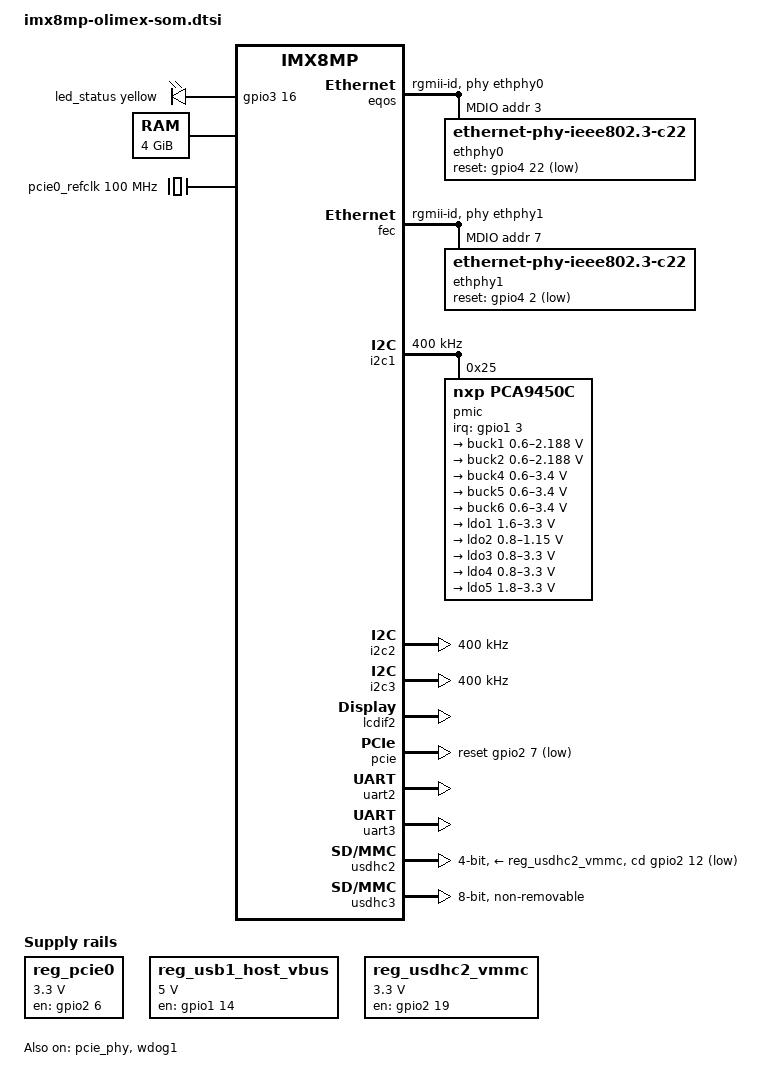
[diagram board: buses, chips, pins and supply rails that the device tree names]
// SPDX-License-Identifier: (GPL-2.0+ OR MIT)
/*
 * Copyright 2019 NXP
 * Copyright 2026 Zoltan HERPAI <wigyori@uid0.hu>
 */

/dts-v1/;

#include <dt-bindings/usb/pd.h>
#include <dt-bindings/phy/phy-imx8-pcie.h>
#include <dt-bindings/leds/common.h>
#include "imx8mp.dtsi"

/ {
	compatible = "olimex,imx8mp-som", "fsl,imx8mp";

	chosen {
		stdout-path = &uart2;
	};

	gpio-leds {
		compatible = "gpio-leds";
		pinctrl-names = "default";
		pinctrl-0 = <&pinctrl_gpio_led>;

		led_status: status {
			color = <LED_COLOR_ID_YELLOW>;
			function = LED_FUNCTION_STATUS;
			gpios = <&gpio3 16 GPIO_ACTIVE_HIGH>;
			default-state = "on";
		};
	};

	memory@40000000 {
		device_type = "memory";
		reg = <0x0 0x40000000 0 0xc0000000>,
		      <0x1 0x00000000 0 0x40000000>;
	};

	pcie0_refclk: clock-pcie0 {
		compatible = "fixed-clock";
		#clock-cells = <0>;
		clock-frequency = <100000000>;
	};

	reg_pcie0: regulator-pcie {
		compatible = "regulator-fixed";
		pinctrl-names = "default";
		pinctrl-0 = <&pinctrl_pcie0_reg>;
		regulator-name = "MPCIE_3V3";
		regulator-min-microvolt = <3300000>;
		regulator-max-microvolt = <3300000>;
		gpio = <&gpio2 6 GPIO_ACTIVE_HIGH>;
		enable-active-high;
	};

	reg_usb1_host_vbus: regulator-usb1-vbus {
		compatible = "regulator-fixed";
		regulator-name = "usb1_host_vbus";
		pinctrl-names = "default";
		pinctrl-0 = <&pinctrl_usb1_vbus>;
		regulator-min-microvolt = <5000000>;
		regulator-max-microvolt = <5000000>;
		gpio = <&gpio1 14 GPIO_ACTIVE_HIGH>;
		enable-active-high;
	};

	reg_usdhc2_vmmc: regulator-usdhc2 {
		compatible = "regulator-fixed";
		pinctrl-names = "default";
		pinctrl-0 = <&pinctrl_reg_usdhc2_vmmc>;
		regulator-name = "VSD_3V3";
		regulator-min-microvolt = <3300000>;
		regulator-max-microvolt = <3300000>;
		gpio = <&gpio2 19 GPIO_ACTIVE_HIGH>;
		enable-active-high;
	};
};

&A53_0 {
	cpu-supply = <&buck2>;
};

&A53_1 {
	cpu-supply = <&buck2>;
};

&A53_2 {
	cpu-supply = <&buck2>;
};

&A53_3 {
	cpu-supply = <&buck2>;
};

&eqos {
	phy-handle = <&ethphy0>;
	phy-mode = "rgmii-id";
	pinctrl-names = "default";
	pinctrl-0 = <&pinctrl_eqos>;

	status = "okay";

	mdio {
		compatible = "snps,dwmac-mdio";
		#address-cells = <1>;
		#size-cells = <0>;

		ethphy0: ethernet-phy@3 {
			compatible = "ethernet-phy-ieee802.3-c22";
			eee-broken-100tx;
			eee-broken-1000t;
			reset-gpios = <&gpio4 22 GPIO_ACTIVE_LOW>;
			reset-assert-us = <150000>;
			reset-deassert-us = <10000>;

			reg = <3>;
		};
	};
};

&fec {
	fsl,magic-packet;
	phy-handle = <&ethphy1>;
	phy-mode = "rgmii-id";
	pinctrl-names = "default";
	pinctrl-0 = <&pinctrl_fec>;

	status = "okay";

	mdio {
		#address-cells = <1>;
		#size-cells = <0>;

		ethphy1: ethernet-phy@7 {
			compatible = "ethernet-phy-ieee802.3-c22";
			reset-gpios = <&gpio4 2 GPIO_ACTIVE_LOW>;
			reset-assert-us = <150000>;
			reset-deassert-us = <10000>;

			reg = <7>;
		};
	};
};

&i2c1 {
	clock-frequency = <400000>;
	pinctrl-names = "default";
	pinctrl-0 = <&pinctrl_i2c1>;

	status = "okay";

	pmic: pmic@25 {
		reg = <0x25>;
		compatible = "nxp,pca9450c";
		/* PMIC PCA9450 PMIC_nINT GPIO1_IO3 */
		pinctrl-0 = <&pinctrl_pmic>;
		interrupt-parent = <&gpio1>;
		interrupts = <3 GPIO_ACTIVE_LOW>;

		regulators {
			buck1: BUCK1 {
				regulator-name = "BUCK1";
				regulator-min-microvolt = <600000>;
				regulator-max-microvolt = <2187500>;
				regulator-boot-on;
				regulator-always-on;
				regulator-ramp-delay = <3125>;
			};

			buck2: BUCK2 {
				regulator-name = "BUCK2";
				regulator-min-microvolt = <600000>;
				regulator-max-microvolt = <2187500>;
				regulator-boot-on;
				regulator-always-on;
				regulator-ramp-delay = <3125>;
				nxp,dvs-run-voltage = <950000>;
				nxp,dvs-standby-voltage = <850000>;
			};

			buck4: BUCK4 {
				regulator-name = "BUCK4";
				regulator-min-microvolt = <600000>;
				regulator-max-microvolt = <3400000>;
				regulator-boot-on;
				regulator-always-on;
			};

			buck5: BUCK5 {
				regulator-name = "BUCK5";
				regulator-min-microvolt = <600000>;
				regulator-max-microvolt = <3400000>;
				regulator-boot-on;
				regulator-always-on;
			};

			buck6: BUCK6 {
				regulator-name = "BUCK6";
				regulator-min-microvolt = <600000>;
				regulator-max-microvolt = <3400000>;
				regulator-boot-on;
				regulator-always-on;
			};

			ldo1: LDO1 {
				regulator-name = "LDO1";
				regulator-min-microvolt = <1600000>;
				regulator-max-microvolt = <3300000>;
				regulator-boot-on;
				regulator-always-on;
			};

			ldo2: LDO2 {
				regulator-name = "LDO2";
				regulator-min-microvolt = <800000>;
				regulator-max-microvolt = <1150000>;
				regulator-boot-on;
				regulator-always-on;
			};

			ldo3: LDO3 {
				regulator-name = "LDO3";
				regulator-min-microvolt = <800000>;
				regulator-max-microvolt = <3300000>;
				regulator-boot-on;
				regulator-always-on;
			};

			ldo4: LDO4 {
				regulator-name = "LDO4";
				regulator-min-microvolt = <800000>;
				regulator-max-microvolt = <3300000>;
				regulator-boot-on;
				regulator-always-on;
			};

			ldo5: LDO5 {
				regulator-name = "LDO5";
				regulator-min-microvolt = <1800000>;
				regulator-max-microvolt = <3300000>;
				regulator-boot-on;
				regulator-always-on;
			};
		};
	};
};

&i2c2 {
	clock-frequency = <400000>;
	pinctrl-names = "default";
	pinctrl-0 = <&pinctrl_i2c2>;

	status = "okay";
};

&i2c3 {
	clock-frequency = <400000>;
	pinctrl-names = "default";
	pinctrl-0 = <&pinctrl_i2c3>;

	status = "okay";
};

&lcdif2 {
	status = "okay";
};

&pcie {
	pinctrl-names = "default";
	pinctrl-0 = <&pinctrl_pcie0>;
	reset-gpio = <&gpio2 7 GPIO_ACTIVE_LOW>;
	vpcie-supply = <&reg_pcie0>;

	status = "okay";
};

&pcie_phy {
	clocks = <&pcie0_refclk>;
	clock-names = "ref";
	fsl,clkreq-unsupported;
	fsl,refclk-pad-mode = <IMX8_PCIE_REFCLK_PAD_INPUT>;

	status = "okay";
};

&sdma2 {
	status = "okay";
};

&uart2 {
	/* console */
	pinctrl-names = "default";
	pinctrl-0 = <&pinctrl_uart2>;

	status = "okay";
};

&uart3 {
	assigned-clocks = <&clk IMX8MP_CLK_UART3>;
	assigned-clock-parents = <&clk IMX8MP_SYS_PLL1_80M>;
	pinctrl-names = "default";
	pinctrl-0 = <&pinctrl_uart3>;

	status = "okay";
};

&usdhc2 {
	assigned-clocks = <&clk IMX8MP_CLK_USDHC2>;
	assigned-clock-rates = <400000000>;
	bus-width = <4>;
	cd-gpios = <&gpio2 12 GPIO_ACTIVE_LOW>;
	pinctrl-names = "default", "state_100mhz", "state_200mhz";
	pinctrl-0 = <&pinctrl_usdhc2>, <&pinctrl_usdhc2_gpio>;
	pinctrl-1 = <&pinctrl_usdhc2_100mhz>, <&pinctrl_usdhc2_gpio>;
	pinctrl-2 = <&pinctrl_usdhc2_200mhz>, <&pinctrl_usdhc2_gpio>;
	vmmc-supply = <&reg_usdhc2_vmmc>;

	status = "okay";
};

&usdhc3 {
	assigned-clocks = <&clk IMX8MP_CLK_USDHC3>;
	assigned-clock-rates = <400000000>;
	bus-width = <8>;
	non-removable;
	pinctrl-names = "default", "state_100mhz", "state_200mhz";
	pinctrl-0 = <&pinctrl_usdhc3>;
	pinctrl-1 = <&pinctrl_usdhc3_100mhz>;
	pinctrl-2 = <&pinctrl_usdhc3_200mhz>;

	status = "okay";
};

&wdog1 {
	fsl,ext-reset-output;
	pinctrl-names = "default";
	pinctrl-0 = <&pinctrl_wdog>;

	status = "okay";
};

&iomuxc {
	pinctrl-names = "default";
	pinctrl-0 = <&pinctrl_hog>;

	pinctrl_hog: hoggrp {
		fsl,pins = <
			MX8MP_IOMUXC_HDMI_DDC_SCL__HDMIMIX_HDMI_SCL	0x400001c3
			MX8MP_IOMUXC_HDMI_DDC_SDA__HDMIMIX_HDMI_SDA	0x400001c3
			MX8MP_IOMUXC_HDMI_HPD__HDMIMIX_HDMI_HPD		0x40000019
			MX8MP_IOMUXC_HDMI_CEC__HDMIMIX_HDMI_CEC		0x40000019
		>;
	};

	pinctrl_eqos: eqosgrp {
		fsl,pins = <
			MX8MP_IOMUXC_ENET_MDC__ENET_QOS_MDC		0x3
			MX8MP_IOMUXC_ENET_MDIO__ENET_QOS_MDIO		0x3
			MX8MP_IOMUXC_ENET_RD0__ENET_QOS_RGMII_RD0	0x91
			MX8MP_IOMUXC_ENET_RD1__ENET_QOS_RGMII_RD1	0x91
			MX8MP_IOMUXC_ENET_RD2__ENET_QOS_RGMII_RD2	0x91
			MX8MP_IOMUXC_ENET_RD3__ENET_QOS_RGMII_RD3	0x91
			MX8MP_IOMUXC_ENET_RXC__CCM_ENET_QOS_CLOCK_GENERATE_RX_CLK	0x91
			MX8MP_IOMUXC_ENET_RX_CTL__ENET_QOS_RGMII_RX_CTL	0x91
			MX8MP_IOMUXC_ENET_TD0__ENET_QOS_RGMII_TD0	0x1f
			MX8MP_IOMUXC_ENET_TD1__ENET_QOS_RGMII_TD1	0x1f
			MX8MP_IOMUXC_ENET_TD2__ENET_QOS_RGMII_TD2	0x1f
			MX8MP_IOMUXC_ENET_TD3__ENET_QOS_RGMII_TD3	0x1f
			MX8MP_IOMUXC_ENET_TX_CTL__ENET_QOS_RGMII_TX_CTL	0x1f
			MX8MP_IOMUXC_ENET_TXC__CCM_ENET_QOS_CLOCK_GENERATE_TX_CLK	0x1f
			MX8MP_IOMUXC_SAI2_RXC__GPIO4_IO22		0x19
		>;
	};

	pinctrl_fec: fecgrp {
		fsl,pins = <
			MX8MP_IOMUXC_SAI1_RXD2__ENET1_MDC		0x3
			MX8MP_IOMUXC_SAI1_RXD3__ENET1_MDIO		0x3
			MX8MP_IOMUXC_SAI1_RXD4__ENET1_RGMII_RD0		0x91
			MX8MP_IOMUXC_SAI1_RXD5__ENET1_RGMII_RD1		0x91
			MX8MP_IOMUXC_SAI1_RXD6__ENET1_RGMII_RD2		0x91
			MX8MP_IOMUXC_SAI1_RXD7__ENET1_RGMII_RD3		0x91
			MX8MP_IOMUXC_SAI1_TXC__ENET1_RGMII_RXC		0x91
			MX8MP_IOMUXC_SAI1_TXFS__ENET1_RGMII_RX_CTL	0x91
			MX8MP_IOMUXC_SAI1_TXD0__ENET1_RGMII_TD0		0x1f
			MX8MP_IOMUXC_SAI1_TXD1__ENET1_RGMII_TD1		0x1f
			MX8MP_IOMUXC_SAI1_TXD2__ENET1_RGMII_TD2		0x1f
			MX8MP_IOMUXC_SAI1_TXD3__ENET1_RGMII_TD3		0x1f
			MX8MP_IOMUXC_SAI1_TXD4__ENET1_RGMII_TX_CTL	0x1f
			MX8MP_IOMUXC_SAI1_TXD5__ENET1_RGMII_TXC		0x1f
			MX8MP_IOMUXC_SAI1_RXD0__GPIO4_IO02		0x19
		>;
	};

	pinctrl_gpio_led: gpioledgrp {
		fsl,pins = <
			MX8MP_IOMUXC_NAND_READY_B__GPIO3_IO16	0x19
		>;
	};

	pinctrl_i2c1: i2c1grp {
		fsl,pins = <
			MX8MP_IOMUXC_I2C1_SCL__I2C1_SCL		0x400001c3
			MX8MP_IOMUXC_I2C1_SDA__I2C1_SDA		0x400001c3
		>;
	};

	pinctrl_i2c2: i2c2grp {
		fsl,pins = <
			MX8MP_IOMUXC_I2C2_SCL__I2C2_SCL		0x400001c3
			MX8MP_IOMUXC_I2C2_SDA__I2C2_SDA		0x400001c3
		>;
	};

	pinctrl_i2c3: i2c3grp {
		fsl,pins = <
			MX8MP_IOMUXC_I2C3_SCL__I2C3_SCL		0x400001c3
			MX8MP_IOMUXC_I2C3_SDA__I2C3_SDA		0x400001c3
		>;
	};

	pinctrl_pcie0: pcie0grp {
		fsl,pins = <
			MX8MP_IOMUXC_I2C4_SCL__PCIE_CLKREQ_B	0x61 /* open drain, pull up */
			MX8MP_IOMUXC_SD1_DATA5__GPIO2_IO07	0x41 /* PCIE_RESET */
		>;
	};

	pinctrl_pcie0_reg: pcie0reggrp {
		fsl,pins = <
			MX8MP_IOMUXC_SD1_DATA4__GPIO2_IO06	0x41
		>;
	};

	pinctrl_pmic: pmicirqgrp {
		fsl,pins = <
			MX8MP_IOMUXC_GPIO1_IO03__GPIO1_IO03	0x41
		>;
	};

	pinctrl_uart2: uart2grp {
		fsl,pins = <
			MX8MP_IOMUXC_UART2_RXD__UART2_DCE_RX	0x49
			MX8MP_IOMUXC_UART2_TXD__UART2_DCE_TX	0x49
		>;
	};

	pinctrl_uart3: uart3grp {
		fsl,pins = <
			MX8MP_IOMUXC_ECSPI1_SCLK__UART3_DCE_RX		0x140
			MX8MP_IOMUXC_ECSPI1_MOSI__UART3_DCE_TX		0x140
			MX8MP_IOMUXC_ECSPI1_SS0__UART3_DCE_RTS		0x140
			MX8MP_IOMUXC_ECSPI1_MISO__UART3_DCE_CTS		0x140
		>;
	};

	pinctrl_usb1_vbus: usb1grp {
		fsl,pins = <
			MX8MP_IOMUXC_GPIO1_IO14__GPIO1_IO14		0x19
		>;
	};

	pinctrl_usdhc2: usdhc2grp {
		fsl,pins = <
			MX8MP_IOMUXC_SD2_CLK__USDHC2_CLK	0x190
			MX8MP_IOMUXC_SD2_CMD__USDHC2_CMD	0x1d0
			MX8MP_IOMUXC_SD2_DATA0__USDHC2_DATA0	0x1d0
			MX8MP_IOMUXC_SD2_DATA1__USDHC2_DATA1	0x1d0
			MX8MP_IOMUXC_SD2_DATA2__USDHC2_DATA2	0x1d0
			MX8MP_IOMUXC_SD2_DATA3__USDHC2_DATA3	0x1d0
			MX8MP_IOMUXC_GPIO1_IO04__USDHC2_VSELECT	0xc1
		>;
	};

	pinctrl_usdhc2_100mhz: usdhc2-100mhzgrp {
		fsl,pins = <
			MX8MP_IOMUXC_SD2_CLK__USDHC2_CLK	0x194
			MX8MP_IOMUXC_SD2_CMD__USDHC2_CMD	0x1d4
			MX8MP_IOMUXC_SD2_DATA0__USDHC2_DATA0	0x1d4
			MX8MP_IOMUXC_SD2_DATA1__USDHC2_DATA1	0x1d4
			MX8MP_IOMUXC_SD2_DATA2__USDHC2_DATA2	0x1d4
			MX8MP_IOMUXC_SD2_DATA3__USDHC2_DATA3	0x1d4
			MX8MP_IOMUXC_GPIO1_IO04__USDHC2_VSELECT 0xc1
		>;
	};

	pinctrl_usdhc2_200mhz: usdhc2-200mhzgrp {
		fsl,pins = <
			MX8MP_IOMUXC_SD2_CLK__USDHC2_CLK	0x196
			MX8MP_IOMUXC_SD2_CMD__USDHC2_CMD	0x1d6
			MX8MP_IOMUXC_SD2_DATA0__USDHC2_DATA0	0x1d6
			MX8MP_IOMUXC_SD2_DATA1__USDHC2_DATA1	0x1d6
			MX8MP_IOMUXC_SD2_DATA2__USDHC2_DATA2	0x1d6
			MX8MP_IOMUXC_SD2_DATA3__USDHC2_DATA3	0x1d6
			MX8MP_IOMUXC_GPIO1_IO04__USDHC2_VSELECT 0xc1
		>;
	};

	pinctrl_usdhc2_gpio: usdhc2gpiogrp {
		fsl,pins = <
			MX8MP_IOMUXC_SD2_CD_B__GPIO2_IO12	0x1c4
		>;
	};

	pinctrl_reg_usdhc2_vmmc: regusdhc2vmmcgrp {
		fsl,pins = <
			MX8MP_IOMUXC_SD2_RESET_B__GPIO2_IO19	0x41
		>;
	};

	pinctrl_usdhc3: usdhc3grp {
		fsl,pins = <
			MX8MP_IOMUXC_NAND_WE_B__USDHC3_CLK	0x190
			MX8MP_IOMUXC_NAND_WP_B__USDHC3_CMD	0x1d0
			MX8MP_IOMUXC_NAND_DATA04__USDHC3_DATA0	0x1d0
			MX8MP_IOMUXC_NAND_DATA05__USDHC3_DATA1	0x1d0
			MX8MP_IOMUXC_NAND_DATA06__USDHC3_DATA2	0x1d0
			MX8MP_IOMUXC_NAND_DATA07__USDHC3_DATA3	0x1d0
			MX8MP_IOMUXC_NAND_RE_B__USDHC3_DATA4	0x1d0
			MX8MP_IOMUXC_NAND_CE2_B__USDHC3_DATA5	0x1d0
			MX8MP_IOMUXC_NAND_CE3_B__USDHC3_DATA6	0x1d0
			MX8MP_IOMUXC_NAND_CLE__USDHC3_DATA7	0x1d0
			MX8MP_IOMUXC_NAND_CE1_B__USDHC3_STROBE	0x190
		>;
	};

	pinctrl_usdhc3_100mhz: usdhc3-100mhzgrp {
		fsl,pins = <
			MX8MP_IOMUXC_NAND_WE_B__USDHC3_CLK	0x194
			MX8MP_IOMUXC_NAND_WP_B__USDHC3_CMD	0x1d4
			MX8MP_IOMUXC_NAND_DATA04__USDHC3_DATA0	0x1d4
			MX8MP_IOMUXC_NAND_DATA05__USDHC3_DATA1	0x1d4
			MX8MP_IOMUXC_NAND_DATA06__USDHC3_DATA2	0x1d4
			MX8MP_IOMUXC_NAND_DATA07__USDHC3_DATA3	0x1d4
			MX8MP_IOMUXC_NAND_RE_B__USDHC3_DATA4	0x1d4
			MX8MP_IOMUXC_NAND_CE2_B__USDHC3_DATA5	0x1d4
			MX8MP_IOMUXC_NAND_CE3_B__USDHC3_DATA6	0x1d4
			MX8MP_IOMUXC_NAND_CLE__USDHC3_DATA7	0x1d4
			MX8MP_IOMUXC_NAND_CE1_B__USDHC3_STROBE	0x194
		>;
	};

	pinctrl_usdhc3_200mhz: usdhc3-200mhzgrp {
		fsl,pins = <
			MX8MP_IOMUXC_NAND_WE_B__USDHC3_CLK	0x196
			MX8MP_IOMUXC_NAND_WP_B__USDHC3_CMD	0x1d6
			MX8MP_IOMUXC_NAND_DATA04__USDHC3_DATA0	0x1d6
			MX8MP_IOMUXC_NAND_DATA05__USDHC3_DATA1	0x1d6
			MX8MP_IOMUXC_NAND_DATA06__USDHC3_DATA2	0x1d6
			MX8MP_IOMUXC_NAND_DATA07__USDHC3_DATA3	0x1d6
			MX8MP_IOMUXC_NAND_RE_B__USDHC3_DATA4	0x1d6
			MX8MP_IOMUXC_NAND_CE2_B__USDHC3_DATA5	0x1d6
			MX8MP_IOMUXC_NAND_CE3_B__USDHC3_DATA6	0x1d6
			MX8MP_IOMUXC_NAND_CLE__USDHC3_DATA7	0x1d6
			MX8MP_IOMUXC_NAND_CE1_B__USDHC3_STROBE	0x196
		>;
	};

	pinctrl_usb1_vbus: usb1grp {
		fsl,pins = <
			MX8MP_IOMUXC_GPIO1_IO14__GPIO1_IO14	0x19
		>;
	};

	pinctrl_wdog: wdoggrp {
		fsl,pins = <
			MX8MP_IOMUXC_GPIO1_IO02__WDOG1_WDOG_B	0xc6
		>;
	};
};
